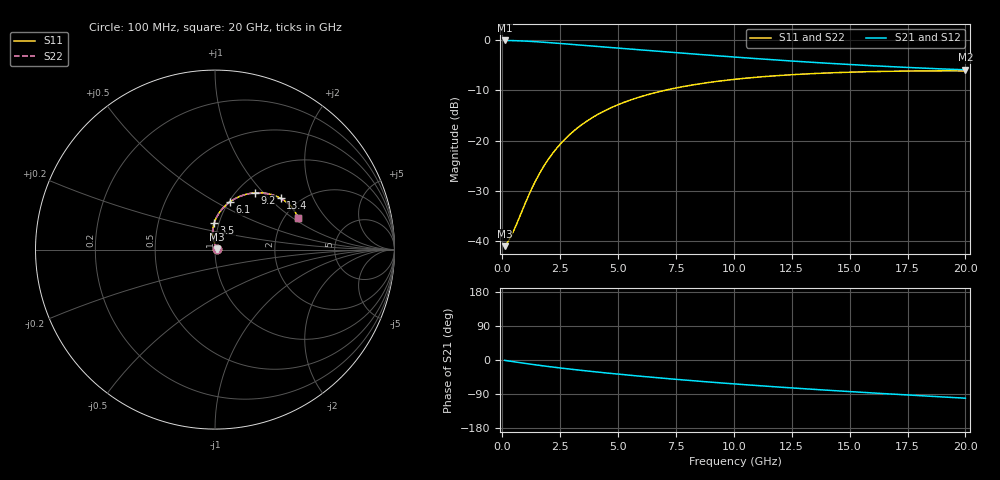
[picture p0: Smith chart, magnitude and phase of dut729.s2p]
! Touchstone file exported from HFSS 2024.1.0
!  File:  C:/UserFiles/LocalFiles/RDL_TSV_Batchsim/temp_RDL_TSV_729_1779892692.aedt
!  Generated:  10:55:07 PM May 27, 2026
!  Design:  RDL_TSV
!  Project:  temp_RDL_TSV_729_1779892692
!  Setup:  Setup1
!  Solution:  Sweep
! Variables:
!  dtsv = 6.68um
!  hbump = 3um
!  htsv = 67.31um
!  ldown = 119.53um
!  lrdl = 196.62um
!  p = 40
!  p1 = 58.93um
!  rhole = 10um
!  subl = 1145.07um
!  t = 450um
!  tdown = 3.94um
!  trdl = 4.16um
!  viad = 10um
!  wdown = 10.82um
!  wrdl = 14.94um
!  xbump = 18um
# GHz S MA R 50.000000
! Terminal data exported
! Port[1] = TM1_1_T1
! Port[2] = TM1_4_T1
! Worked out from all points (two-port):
!   200 points, 100 MHz to 20 GHz, reference 50 ohm
!   highest |S21| = -0.08 dB at 100 MHz (marker M1); lowest = -5.9 dB at 20 GHz (marker M2)
!   |S21| within 3 dB of the highest: start of sweep to 9.148 GHz
!   lowest |S11| = -40.9 dB at 100 MHz (marker M3), VSWR 1.02, Z = 50.9 + j0.223 ohm
!   |S11| at or under -10 dB: start of sweep to 7.008 GHz
!   |S22| runs from -40.9 to -6.1 dB; largest |S21 - S12| = 9e-15
!   S11 on the Smith chart (normalised r, x): 100 MHz: 1.02, +0.00; 3.5 GHz: 0.95, +0.29; 6.1 GHz: 1.01, +0.59; 9.2 GHz: 1.21, +0.90; 13.4 GHz: 1.62, +1.18; 20 GHz: 2.36, +1.10
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0.1  0.008976 14.1  0.991 -0.9  0.991 -0.9  0.008976 14.1
! Gamma 0 0 0 0
! Port Impedance 50 0 50 0
0.3  0.01045 38.2  0.9896 -2.8  0.9896 -2.8  0.01046 38.2
0.5  0.01289 57.3  0.9871 -4.6  0.9871 -4.6  0.01289 57.3
1.1  0.02739 90.4  0.974 -10.0  0.974 -10.0  0.02738 90.3
1.4  0.03849 96.7  0.9651 -12.5  0.9651 -12.5  0.03846 96.6
1.6  0.047 98.8  0.9584 -14.1  0.9584 -14.1  0.04696 98.7
1.9  0.06107 100.0  0.9478 -16.5  0.9478 -16.5  0.06103 99.9
2.2  0.07634 99.7  0.9366 -18.8  0.9366 -18.8  0.07628 99.6
2.6  0.0979 98.0  0.9213 -21.8  0.9213 -21.8  0.09782 97.9
3  0.1202 95.5  0.9059 -24.6  0.9059 -24.6  0.1201 95.4
3.5  0.1483 91.8  0.8868 -27.9  0.8868 -27.9  0.1481 91.8
4.1  0.1813 87.1  0.8645 -31.8  0.8645 -31.8  0.1811 87.1
4.7  0.2129 82.5  0.8428 -35.5  0.8428 -35.5  0.2127 82.5
5.4  0.2475 77.4  0.8183 -39.6  0.8183 -39.6  0.2473 77.4
6.1  0.2793 72.6  0.7947 -43.5  0.7947 -43.5  0.279 72.5
6.8  0.3082 68.1  0.7719 -47.4  0.7719 -47.4  0.3079 68.0
7.9  0.348 61.6  0.7377 -53.0  0.7377 -53.0  0.3476 61.6
9.2  0.3868 54.8  0.7002 -59.4  0.7002 -59.4  0.3864 54.8
10.1  0.409 50.7  0.676 -63.5  0.676 -63.5  0.4085 50.6
13.4  0.4643 38.0  0.6009 -77.3  0.6009 -77.3  0.4638 37.9
16.7  0.4896 28.3  0.5455 -89.5  0.5455 -89.5  0.4889 28.3
20  0.4946 20.9  0.5065 -100.8  0.5065 -100.8  0.4939 20.8
